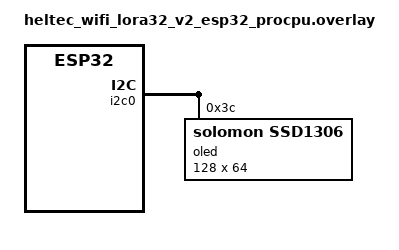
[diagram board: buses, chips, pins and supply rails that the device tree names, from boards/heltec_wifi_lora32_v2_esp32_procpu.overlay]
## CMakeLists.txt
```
cmake_minimum_required(VERSION 3.20.0)

find_package(Zephyr REQUIRED HINTS $ENV{ZEPHYR_BASE})
project(fuota_lorawan)

target_sources(app PRIVATE src/main.c src/screen.c)
target_sources_ifdef(CONFIG_APP_TRANSPORT_P2P app PRIVATE src/p2p.c)
# p2p.c reuses the TS004 decoder and the flash writes of the fragmentation service
target_include_directories(app PRIVATE ${ZEPHYR_BASE}/subsys/lorawan/services)
```

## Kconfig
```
mainmenu "LoRaWAN FUOTA example"

choice APP_TRANSPORT
	prompt "Update transport"
	default APP_TRANSPORT_LORAWAN

config APP_TRANSPORT_LORAWAN
	bool "LoRaWAN: OTAA join and FUOTA services (TS003, TS004, TS005)"

config APP_TRANSPORT_P2P
	bool "Point-to-point LoRa, from another board, without a LoRaWAN network"
	help
	  For a bench without a gateway: a second board broadcasts the image as
	  TS004 fragments (see radio-modem/ and tools/p2p_send.py). The decoder,
	  the flash writes and MCUboot are the same as with LoRaWAN.

endchoice

config APP_LORAWAN_DEV_EUI
	string "DevEUI (16 hex characters)"
	default "0000000000000000"

config APP_LORAWAN_JOIN_EUI
	string "JoinEUI (16 hex characters)"
	default "0000000000000000"

config APP_LORAWAN_APP_KEY
	string "AppKey (32 hex characters)"
	default "00000000000000000000000000000000"
	help
	  Never put a real key in prj.conf: pass it through a file kept out of
	  the repository, with -Dfirmware_EXTRA_CONF_FILE (sysbuild).

config APP_JOIN_ATTEMPTS
	int "Join attempts before giving up"
	range 0 20
	default 3
	help
	  At 0, the device transmits nothing: useful on a bench without an antenna.

config APP_UPLINK_PERIOD
	int "Uplink period, in seconds"
	default 180

config APP_SELFTEST_REQUIRES_JOIN
	bool "Only confirm a new image after a successful join"
	default y
	help
	  Health check of an image booted on trial. If the join fails, the device
	  reboots and MCUboot restores the previous image. Only disable it on a
	  bench without a LoRaWAN gateway: the check then becomes "the radio
	  answers".

source "Kconfig.zephyr"
```

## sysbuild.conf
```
SB_CONFIG_BOOTLOADER_MCUBOOT=y

# Signature required. The key itself is passed at build time:
#   -DSB_CONFIG_BOOT_SIGNATURE_KEY_FILE='"/path/outside-the-repo/key.pem"'
# Without this option, the build uses MCUboot's public example key.
SB_CONFIG_BOOT_SIGNATURE_TYPE_ECDSA_P256=y

# Swap the two slots, so the previous image can be restored
SB_CONFIG_MCUBOOT_MODE_SWAP_SCRATCH=y
```

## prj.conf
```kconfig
CONFIG_LOG=y
CONFIG_MAIN_STACK_SIZE=4096
CONFIG_SYSTEM_WORKQUEUE_STACK_SIZE=2048
CONFIG_REBOOT=y
CONFIG_WATCHDOG=y

# Radio and LoRaWAN stack
CONFIG_LORA=y
CONFIG_LORAWAN=y
CONFIG_LORAWAN_REGION_EU868=y

# The DevNonce must survive reboots
CONFIG_NVS=y
CONFIG_SETTINGS=y
CONFIG_LORAWAN_NVM_SETTINGS=y
CONFIG_ENTROPY_GENERATOR=y

# The three FUOTA building blocks
CONFIG_LORAWAN_SERVICES=y
CONFIG_LORAWAN_APP_CLOCK_SYNC=y
CONFIG_LORAWAN_REMOTE_MULTICAST=y
CONFIG_LORAWAN_FRAG_TRANSPORT=y

# Writing the received image to the secondary slot
CONFIG_FLASH=y
CONFIG_FLASH_MAP=y
CONFIG_STREAM_FLASH=y
CONFIG_IMG_MANAGER=y

# Sizing of the fragment decoder. Its memory depends on the number of fragments
# (image size / fragment size) and on the tolerated redundancy: with the defaults
# (whole partition, 48-byte fragments, 20%), it asks for more than 5 MB of RAM.
# So we fix what the server will send.
CONFIG_LORAWAN_FRAG_TRANSPORT_DECODER_LOWMEM=y
CONFIG_LORAWAN_FRAG_TRANSPORT_IMAGE_SIZE=393216
CONFIG_LORAWAN_FRAG_TRANSPORT_MIN_FRAG_SIZE=48
CONFIG_LORAWAN_FRAG_TRANSPORT_MAX_FRAG_SIZE=48
CONFIG_LORAWAN_FRAG_TRANSPORT_MAX_REDUNDANCY=10

# Screen: logo and steps (no effect on a board without a screen)
CONFIG_DISPLAY=y
CONFIG_CHARACTER_FRAMEBUFFER=y
```

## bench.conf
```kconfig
# Test bench without a LoRaWAN gateway: no radio transmission.
# Add with -Dfirmware_EXTRA_CONF_FILE=bench.conf
CONFIG_APP_JOIN_ATTEMPTS=0
```

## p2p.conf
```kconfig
# Update over point-to-point LoRa (two-board bench, without a LoRaWAN network).
# Add with -Dfirmware_EXTRA_CONF_FILE=p2p.conf
CONFIG_APP_TRANSPORT_P2P=y

# 200-byte fragments: 4 times fewer frames than with 48, for the same RAM
CONFIG_LORAWAN_FRAG_TRANSPORT_MIN_FRAG_SIZE=200
CONFIG_LORAWAN_FRAG_TRANSPORT_MAX_FRAG_SIZE=200
```

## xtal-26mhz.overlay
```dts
/* Some older Heltec and TTGO boards have a 26 MHz crystal instead of 40 MHz
 * (esptool shows it: "Crystal frequency: 26MHz"). Apply to both the firmware and
 * MCUboot.
 */
&cpu0 {
	xtal-freq = <DT_FREQ_M(26)>;
};

&cpu1 {
	xtal-freq = <DT_FREQ_M(26)>;
};
```

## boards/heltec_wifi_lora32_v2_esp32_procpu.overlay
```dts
/* 128 x 64 OLED screen (SSD1306) of the Heltec board, on the internal I2C bus.
 * Power (Vext) and the reset pin are handled by board_init.c.
 */

/ {
	chosen {
		zephyr,display = &oled;
	};
};

&i2c0 {
	oled: ssd1306@3c {
		compatible = "solomon,ssd1306";
		reg = <0x3c>;
		width = <128>;
		height = <64>;
		segment-offset = <0>;
		page-offset = <0>;
		display-offset = <0>;
		multiplex-ratio = <63>;
		segment-remap;
		com-invdir;
		prechargep = <0x22>;
	};
};
```

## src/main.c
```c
/*
 * LoRaWAN FUOTA example for the "CRA & Dev" series, episode 6.
 *
 * The firmware joins the network, listens to the three FUOTA services, and applies
 * the rule from the article: a received image boots on trial, and is only confirmed
 * once it has proven itself. Each step is shown on the screen, if there is one.
 */

#include <app_version.h>
#include <zephyr/device.h>
#include <zephyr/dfu/mcuboot.h>
#include <zephyr/drivers/watchdog.h>
#include <zephyr/kernel.h>
#include <zephyr/logging/log.h>
#include <zephyr/logging/log_ctrl.h>
#include <zephyr/lorawan/lorawan.h>
#include <zephyr/sys/reboot.h>
#include <zephyr/sys/util.h>

#include "p2p.h"
#include "screen.h"

LOG_MODULE_REGISTER(fuota, LOG_LEVEL_INF);

#define WATCHDOG_TIMEOUT_MS 60000

/* Join retries on a confirmed image: 1 minute, then doubling, up to 1 hour */
#define JOIN_RETRY_MIN_S 60
#define JOIN_RETRY_MAX_S 3600

/* Before rebooting a confirmed image after a failure: avoids a reboot loop */
#define FAILURE_WAIT_S 600

/* Ports of the FUOTA services (LoRa Alliance specifications) */
#define PORT_MULTICAST_SETUP 200 /* TS005 */
#define PORT_FRAG_TRANSPORT  201 /* TS004 */
#define PORT_CLOCK_SYNC      202 /* TS003 */

static const struct device *const lora = DEVICE_DT_GET(DT_ALIAS(lora0));
static const struct device *const wdt = DEVICE_DT_GET(DT_ALIAS(watchdog0));
static int wdt_channel = -1;

/* Downlinks seen by the application. LoRaWAN callbacks run on the system
 * workqueue and must stay short: they post an event, the main loop handles it.
 * Losing one only loses a line on the screen.
 */
struct downlink {
	uint8_t port;
	int16_t rssi;
	uint8_t len;
};

K_MSGQ_DEFINE(downlinks, sizeof(struct downlink), 16, 4);

/* The end of a transfer must never be lost: a semaphore, not a queue slot. */
static K_SEM_DEFINE(image_received, 0, 1);

static void watchdog_start(void)
{
	const struct wdt_timeout_cfg cfg = {
		.window.max = WATCHDOG_TIMEOUT_MS,
		.flags = WDT_FLAG_RESET_SOC,
	};

	if (!device_is_ready(wdt)) {
		LOG_WRN("No watchdog");
		return;
	}
	wdt_channel = wdt_install_timeout(wdt, &cfg);
	if (wdt_channel < 0 || wdt_setup(wdt, WDT_OPT_PAUSE_HALTED_BY_DBG) < 0) {
		LOG_WRN("Watchdog not started");
		wdt_channel = -1;
	}
}

static void watchdog_feed(void)
{
	if (wdt_channel >= 0) {
		wdt_feed(wdt, wdt_channel);
	}
}

/* Sleeps while keeping the watchdog fed. */
static void wait(int seconds)
{
	for (int i = 0; i < seconds; i += 10) {
		watchdog_feed();
		k_sleep(K_SECONDS(MIN(10, seconds - i)));
	}
}

/* If the firmware hangs, the watchdog reboots the device, and MCUboot restores the
 * previous image as long as the new one is not confirmed.
 */
static FUNC_NORETURN void reboot(const char *reason)
{
	LOG_WRN("Rebooting: %s", reason);
	screen_step("Rebooting");
	LOG_PANIC(); /* flush the logs before cutting */
	sys_reboot(SYS_REBOOT_COLD);
}

/* A test image reboots at once, so MCUboot rolls it back. A confirmed image has no
 * older image to go back to: it waits before retrying, rather than reboot-looping.
 */
static FUNC_NORETURN void fail(bool confirmed, const char *screen, const char *reason)
{
	LOG_ERR("%s", reason);
	screen_step("%s", screen);
	if (confirmed) {
		wait(FAILURE_WAIT_S);
	}
	reboot(reason);
}

/* Called by the fragmentation service once the image is complete in the secondary
 * slot. Zephyr has already asked MCUboot for a test boot.
 */
static void fuota_finished(void)
{
	k_sem_give(&image_received);
}

/* Every downlink, including those of the FUOTA services, which Zephyr also handles
 * on its own.
 */
static void downlink_received(uint8_t port, uint8_t flags, int16_t rssi, int8_t snr,
			      uint8_t len, const uint8_t *data)
{
	struct downlink dl = {.port = port, .rssi = rssi, .len = len};

	ARG_UNUSED(flags);
	ARG_UNUSED(snr);
	ARG_UNUSED(data);
	k_msgq_put(&downlinks, &dl, K_NO_WAIT);
}

static struct lorawan_downlink_cb downlink_cb = {
	.port = LW_RECV_PORT_ANY,
	.cb = downlink_received,
};

static void show_downlink(const struct downlink *dl)
{
	const char *service;

	switch (dl->port) {
	case 0:
		return; /* MAC acknowledgement, no data */
	case PORT_MULTICAST_SETUP:
		service = "mcast";
		break;
	case PORT_FRAG_TRANSPORT:
		service = "frag";
		break;
	case PORT_CLOCK_SYNC:
		service = "clock";
		break;
	default:
		service = "app";
		break;
	}
	LOG_INF("Downlink port %u (%s), %u bytes, RSSI %d dBm", dl->port, service, dl->len,
		dl->rssi);
	screen_step("DL %u %s", dl->port, service);
}

static int join(void)
{
	static uint8_t dev_eui[8], join_eui[8], app_key[16];
	struct lorawan_join_config cfg = {
		.mode = LORAWAN_ACT_OTAA,
		.dev_eui = dev_eui,
		.otaa = {.join_eui = join_eui, .app_key = app_key, .nwk_key = app_key},
	};
	int ret = -EINVAL;

	if (hex2bin(CONFIG_APP_LORAWAN_DEV_EUI, strlen(CONFIG_APP_LORAWAN_DEV_EUI),
		    dev_eui, sizeof(dev_eui)) != sizeof(dev_eui) ||
	    hex2bin(CONFIG_APP_LORAWAN_JOIN_EUI, strlen(CONFIG_APP_LORAWAN_JOIN_EUI),
		    join_eui, sizeof(join_eui)) != sizeof(join_eui) ||
	    hex2bin(CONFIG_APP_LORAWAN_APP_KEY, strlen(CONFIG_APP_LORAWAN_APP_KEY),
		    app_key, sizeof(app_key)) != sizeof(app_key)) {
		LOG_ERR("Malformed LoRaWAN credentials");
		return ret;
	}

	for (int i = 1; i <= CONFIG_APP_JOIN_ATTEMPTS; i++) {
		LOG_INF("OTAA join, attempt %d/%d", i, CONFIG_APP_JOIN_ATTEMPTS);
		screen_step("Join %d/%d", i, CONFIG_APP_JOIN_ATTEMPTS);
		watchdog_feed();
		ret = lorawan_join(&cfg);
		if (ret == 0) {
			screen_step("Join OK");
			return 0;
		}
		LOG_WRN("Join rejected or no answer (%d)", ret);
		k_sleep(K_SECONDS(5));
	}
	screen_step("Join failed");
	return ret;
}

/* Starts the FUOTA services; returns true if all of them started. */
static bool start_services(void)
{
	int clock, frag;

	lorawan_enable_adr(true);
	clock = lorawan_clock_sync_run();                   /* TS003 */
	frag = lorawan_frag_transport_run(fuota_finished); /* TS004 */
	/* TS005 starts on its own, in the background */
	if (clock < 0 || frag < 0) {
		LOG_ERR("FUOTA services not started (clock sync %d, frag transport %d)", clock,
			frag);
		screen_step("FUOTA error");
		return false;
	}
	screen_step("FUOTA ready");
	return true;
}

static void confirm(void)
{
	if (boot_write_img_confirmed() < 0) {
		reboot("cannot confirm the image");
	}
	LOG_INF("Image confirmed");
	screen_step("Confirmed");
}

/* Update over point-to-point LoRa. The health check is just "the radio answers":
 * there is no network to join.
 */
static FUNC_NORETURN void run_p2p(bool confirmed)
{
	LOG_INF("LoRa radio ready (point to point)");
	screen_step("Radio OK");
	if (!confirmed) {
		confirm();
		confirmed = true;
	}
	if (p2p_fuota_run(watchdog_feed) == 0) {
		reboot("new image received, MCUboot will verify it");
	}
	fail(confirmed, "Radio error", "LoRa radio error");
}

int main(void)
{
	bool confirmed = boot_is_img_confirmed();
	bool joined = false, services = false;
	int join_retry_s = JOIN_RETRY_MIN_S;
	int64_t next_join, next_uplink;

	screen_init(); /* the logo, for a few seconds */
	LOG_INF("Firmware %s, image %s", APP_VERSION_STRING, confirmed ? "confirmed" : "on trial");
	screen_step("v%s %s", APP_VERSION_STRING, confirmed ? "ok" : "trial");
	watchdog_start();

	if (!device_is_ready(lora)) {
		fail(confirmed, "Radio error", "LoRa radio unavailable");
	}

	if (IS_ENABLED(CONFIG_APP_TRANSPORT_P2P)) {
		run_p2p(confirmed);
	}

	if (lorawan_start() < 0) {
		fail(confirmed, "Radio error", "LoRaWAN stack unavailable");
	}
	lorawan_register_downlink_callback(&downlink_cb);
	LOG_INF("LoRa radio ready");
	screen_step("Radio OK");

	if (CONFIG_APP_JOIN_ATTEMPTS == 0) {
		screen_step("Join off");
	} else {
		joined = join() == 0;
	}
	if (joined) {
		services = start_services();
	}

	/* The health check. A test image that fails it reboots without confirming
	 * itself: MCUboot puts the old one back. A product would check more here:
	 * storage migration, critical peripherals, a first exchange with the backend.
	 */
	if (!confirmed) {
		if (IS_ENABLED(CONFIG_APP_SELFTEST_REQUIRES_JOIN) && !(joined && services)) {
			reboot(joined ? "test image unable to start the FUOTA services"
				      : "test image unable to join the network");
		}
		confirm();
	}

	/* Joined but unable to receive updates: retry from a clean boot, later */
	if (joined && !services) {
		fail(true, "FUOTA error", "FUOTA services not started");
	}

	next_join = k_uptime_get() + join_retry_s * MSEC_PER_SEC;
	next_uplink = k_uptime_get();

	for (;;) {
		struct downlink dl;

		watchdog_feed();
		if (k_sem_take(&image_received, K_NO_WAIT) == 0) {
			screen_step("Image rcvd");
			reboot("new image received, MCUboot will verify it");
		}
		if (k_msgq_get(&downlinks, &dl, K_SECONDS(1)) == 0) {
			show_downlink(&dl);
		}

		/* Offline, the device cannot receive the update that would fix it:
		 * keep trying to join, ever more slowly.
		 */
		if (!joined && CONFIG_APP_JOIN_ATTEMPTS > 0 && k_uptime_get() >= next_join) {
			joined = join() == 0;
			if (joined) {
				services = start_services();
				if (!services) {
					fail(true, "FUOTA error", "FUOTA services not started");
				}
			} else {
				join_retry_s = MIN(join_retry_s * 2, JOIN_RETRY_MAX_S);
				next_join = k_uptime_get() + join_retry_s * MSEC_PER_SEC;
			}
		}

		if (!joined || k_uptime_get() < next_uplink) {
			continue;
		}
		/* In class A, uplinks are what opens the receive windows the server
		 * needs to set up the session.
		 */
		next_uplink = k_uptime_get() + CONFIG_APP_UPLINK_PERIOD * MSEC_PER_SEC;
		uint8_t payload[] = {APP_VERSION_MAJOR, APP_VERSION_MINOR, APP_PATCHLEVEL};

		if (lorawan_send(2, payload, sizeof(payload), LORAWAN_MSG_UNCONFIRMED) < 0) {
			LOG_WRN("Uplink not sent");
			screen_step("Uplink fail");
		} else {
			screen_step("Uplink OK");
		}
	}
	return 0;
}
```

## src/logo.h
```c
/* Generated by tools/make_logo.py from assets/adnt-mark-black.png. Do not edit. */

#include <stdint.h>

#define LOGO_WIDTH  128
#define LOGO_HEIGHT 64

/* One line per pixel row, most significant bit on the left, 1 = lit */
static const uint8_t logo_bitmap[LOGO_HEIGHT * LOGO_WIDTH / 8] = {
	0x00, 0x00, 0x00, 0x00, 0x00, 0x00, 0x00, 0x00, 0x00, 0x00, 0x00, 0x00, 0x00, 0x00, 0x00, 0x00,
	0x00, 0x00, 0x01, 0xc0, 0x00, 0x00, 0x00, 0x00, 0x00, 0x00, 0x00, 0x00, 0x00, 0x00, 0x00, 0x00,
	0x00, 0x00, 0x03, 0xc0, 0x00, 0x00, 0x00, 0x00, 0x00, 0x00, 0x00, 0x00, 0x00, 0x00, 0x00, 0x00,
	0x00, 0x00, 0x03, 0x40, 0x00, 0x00, 0x00, 0x00, 0x00, 0x00, 0x00, 0x00, 0x00, 0x00, 0x00, 0x00,
	0x00, 0x00, 0x03, 0xc0, 0x00, 0x00, 0x00, 0x00, 0x00, 0x00, 0x00, 0x00, 0x00, 0x00, 0x00, 0x00,
	0x00, 0x00, 0x00, 0x60, 0x00, 0x00, 0x00, 0x00, 0x00, 0x00, 0x00, 0x00, 0x00, 0x00, 0x00, 0x00,
	0x00, 0x00, 0x00, 0x60, 0x00, 0x00, 0x00, 0x00, 0x00, 0x00, 0x00, 0x00, 0x00, 0x00, 0x00, 0x00,
	0x00, 0x00, 0x03, 0x30, 0x00, 0x00, 0x00, 0x00, 0x00, 0x00, 0x00, 0x00, 0x00, 0x00, 0x00, 0x00,
	0x00, 0x00, 0x07, 0x98, 0x00, 0x00, 0x00, 0x00, 0x00, 0x00, 0x00, 0x00, 0x00, 0x00, 0x00, 0x00,
	0x00, 0x00, 0x04, 0x9e, 0x00, 0x00, 0x00, 0x00, 0x00, 0x00, 0x00, 0x00, 0x00, 0x00, 0x00, 0x00,
	0x00, 0x00, 0x07, 0x8e, 0x00, 0x00, 0x00, 0x00, 0x00, 0x00, 0x00, 0x00, 0x00, 0x00, 0x00, 0x00,
	0x00, 0x00, 0x03, 0x87, 0x00, 0x00, 0x00, 0x00, 0x00, 0x00, 0x00, 0x00, 0x00, 0x00, 0x00, 0x00,
	0x00, 0x00, 0x00, 0x87, 0x80, 0x00, 0x00, 0x00, 0x00, 0x00, 0x00, 0x00, 0x00, 0x00, 0x00, 0x00,
	0x00, 0x00, 0x00, 0xc3, 0x80, 0x00, 0x00, 0x00, 0x00, 0x00, 0x00, 0x00, 0x00, 0x00, 0x00, 0x00,
	0x00, 0x00, 0x00, 0x61, 0xc0, 0x00, 0x00, 0x00, 0x0f, 0x80, 0x3f, 0xc0, 0x3c, 0x78, 0x7f, 0xfc,
	0x00, 0x00, 0x00, 0x61, 0xc0, 0x00, 0x00, 0x00, 0x0f, 0xc0, 0x3f, 0xe0, 0x3c, 0x78, 0x7f, 0xfc,
	0x00, 0x00, 0x00, 0x70, 0xe0, 0x00, 0x00, 0x00, 0x0f, 0xc0, 0x3f, 0xf0, 0x3e, 0x78, 0x7f, 0xfc,
	0x00, 0x00, 0x00, 0x78, 0x60, 0x00, 0x00, 0x00, 0x1f, 0xc0, 0x3c, 0xf8, 0x3e, 0x78, 0x03, 0xc0,
	0x00, 0x00, 0x00, 0xb8, 0x70, 0x00, 0x00, 0x00, 0x1d, 0xe0, 0x3c, 0x78, 0x3f, 0x78, 0x03, 0xc0,
	0x00, 0x00, 0x01, 0xdc, 0x38, 0x00, 0x00, 0x00, 0x1d, 0xe0, 0x3c, 0x78, 0x3f, 0x78, 0x03, 0xc0,
	0x00, 0x00, 0x01, 0xfc, 0x38, 0x00, 0x00, 0x00, 0x1c, 0xe0, 0x3c, 0x78, 0x3b, 0x78, 0x03, 0xc0,
	0x00, 0x00, 0x03, 0xee, 0x1c, 0x00, 0x00, 0x00, 0x3c, 0xf0, 0x3c, 0x78, 0x3b, 0xb8, 0x03, 0xc0,
	0x00, 0x00, 0x03, 0xff, 0x0c, 0x00, 0x00, 0x00, 0x3c, 0xf0, 0x3c, 0x78, 0x39, 0xf8, 0x03, 0xc0,
	0x00, 0x00, 0x07, 0xf7, 0x0e, 0x00, 0x00, 0x00, 0x3f, 0xf0, 0x3c, 0x78, 0x39, 0xf8, 0x03, 0xc0,
	0x00, 0x00, 0x07, 0xff, 0x86, 0x00, 0x00, 0x00, 0x7f, 0xf0, 0x3c, 0x78, 0x3d, 0xf8, 0x03, 0xc0,
	0x00, 0x00, 0x0f, 0xff, 0xc7, 0x00, 0x00, 0x00, 0x7f, 0xf8, 0x3c, 0xf8, 0x3c, 0xf8, 0x03, 0xc0,
	0x00, 0x00, 0x1f, 0xf9, 0xc7, 0x80, 0x00, 0x00, 0x70, 0x78, 0x3f, 0xf0, 0x3c, 0xf8, 0x03, 0xc0,
	0x00, 0x00, 0x1f, 0xf9, 0xff, 0x80, 0x00, 0x00, 0xf0, 0x78, 0x3f, 0xe0, 0x3c, 0xf8, 0x03, 0xc0,
	0x00, 0x00, 0x3f, 0xf0, 0xff, 0xc0, 0x00, 0x00, 0xf0, 0x3c, 0x3f, 0xc0, 0x3c, 0x78, 0x03, 0xc0,
	0x00, 0x00, 0x3f, 0xf0, 0xff, 0xc0, 0x00, 0x00, 0x00, 0x00, 0x00, 0x00, 0x00, 0x00, 0x00, 0x00,
	0x00, 0x00, 0x7f, 0xe0, 0x7f, 0xe0, 0x00, 0x00, 0x00, 0x00, 0x00, 0x00, 0x00, 0x00, 0x00, 0x00,
	0x00, 0x00, 0x7f, 0xc0, 0x7f, 0xe0, 0x00, 0x00, 0x00, 0x00, 0x00, 0x00, 0x00, 0x00, 0x00, 0x00,
	0x00, 0x00, 0xff, 0xc0, 0xff, 0xf0, 0x00, 0x00, 0x00, 0x00, 0x00, 0x00, 0x00, 0x00, 0x00, 0x00,
	0x00, 0x01, 0xff, 0x80, 0xff, 0xf8, 0x00, 0x00, 0x00, 0x00, 0x00, 0x00, 0x00, 0x00, 0x00, 0x00,
	0x00, 0x01, 0xff, 0x81, 0xff, 0xf8, 0x00, 0x00, 0x00, 0x00, 0x00, 0x00, 0x00, 0x00, 0x00, 0x00,
	0x00, 0x03, 0xff, 0x01, 0xff, 0xfc, 0x00, 0x00, 0x00, 0x00, 0x00, 0x00, 0x00, 0x00, 0x00, 0x00,
	0x00, 0x03, 0xff, 0x03, 0xff, 0xfc, 0x00, 0x00, 0x00, 0x00, 0x00, 0x04, 0x00, 0x00, 0x00, 0x00,
	0x00, 0x07, 0xfe, 0x03, 0xff, 0xfe, 0x00, 0x00, 0x00, 0x00, 0x1f, 0x06, 0x00, 0x30, 0x00, 0x00,
	0x00, 0x0f, 0xfc, 0x07, 0xff, 0xff, 0x00, 0x00, 0x00, 0x00, 0x31, 0x02, 0x00, 0x30, 0x00, 0x00,
	0x00, 0x0f, 0xfc, 0x0f, 0xff, 0xff, 0x00, 0x00, 0x00, 0x00, 0x30, 0x00, 0x00, 0x30, 0x00, 0x00,
	0x00, 0x1f, 0xf8, 0x0f, 0xfd, 0xff, 0x80, 0x00, 0x00, 0x00, 0x30, 0x0f, 0x8d, 0xb0, 0x00, 0x00,
	0x00, 0x1f, 0xf8, 0x1f, 0xf9, 0xff, 0x80, 0x00, 0x00, 0x00, 0x30, 0x09, 0x8e, 0x30, 0x00, 0x00,
	0x00, 0x3f, 0xf0, 0x1f, 0xf8, 0xff, 0xc0, 0x00, 0x00, 0x00, 0x1e, 0x00, 0xcc, 0x30, 0x00, 0x00,
	0x00, 0x3f, 0xf0, 0x3f, 0xf0, 0xff, 0xc0, 0x00, 0x00, 0x00, 0x07, 0x00, 0xcc, 0x30, 0x00, 0x00,
	0x00, 0x7f, 0xe0, 0x3f, 0xf0, 0x7f, 0xe0, 0x00, 0x00, 0x00, 0x01, 0x8f, 0xcc, 0x30, 0x00, 0x00,
	0x00, 0xff, 0xc0, 0x7f, 0xe0, 0x3f, 0xf0, 0x00, 0x00, 0x00, 0x01, 0x98, 0xcc, 0x30, 0x00, 0x00,
	0x00, 0xff, 0xc0, 0xff, 0xc0, 0x3f, 0xf0, 0x00, 0x00, 0x00, 0x01, 0x90, 0xcc, 0x30, 0x00, 0x00,
	0x01, 0xff, 0x80, 0xff, 0xc0, 0x1f, 0xf0, 0x00, 0x00, 0x00, 0x23, 0x99, 0xcc, 0x30, 0x00, 0x00,
	0x01, 0xff, 0xfd, 0xff, 0x9f, 0xff, 0xf8, 0x00, 0x00, 0x00, 0x3e, 0x0e, 0xcc, 0x30, 0x00, 0x00,
	0x03, 0xff, 0xf9, 0xff, 0xbf, 0xff, 0xfc, 0x00, 0x00, 0x00, 0x00, 0x00, 0x00, 0x00, 0x00, 0x00,
	0x03, 0xff, 0xfb, 0xff, 0x7f, 0xff, 0xfc, 0x00, 0x00, 0x00, 0x00, 0x00, 0x00, 0x00, 0x00, 0x00,
	0x07, 0xff, 0xf3, 0xfe, 0x7f, 0xff, 0xfe, 0x00, 0x00, 0x00, 0x00, 0x00, 0x00, 0x00, 0x00, 0x00,
	0x0f, 0xff, 0xf7, 0xfe, 0xff, 0xff, 0xff, 0x00, 0x00, 0x00, 0x00, 0x00, 0x00, 0x00, 0x00, 0x00,
	0x0f, 0xff, 0xef, 0xfc, 0xff, 0xff, 0xff, 0x00, 0x00, 0x00, 0x00, 0x00, 0x00, 0x00, 0x00, 0x00,
	0x1f, 0xff, 0xcf, 0xfd, 0xff, 0xff, 0xff, 0x80, 0x00, 0x00, 0x00, 0x00, 0x00, 0x00, 0x00, 0x00,
	0x1f, 0xff, 0xdf, 0xfb, 0xff, 0xff, 0xff, 0x80, 0x00, 0x00, 0x00, 0x00, 0x00, 0x00, 0x00, 0x00,
	0x3f, 0xff, 0x9f, 0xfb, 0xff, 0xff, 0xff, 0xc0, 0x00, 0x00, 0x00, 0x00, 0x00, 0x00, 0x00, 0x00,
	0x00, 0x00, 0x3f, 0xf0, 0x00, 0x00, 0x00, 0x00, 0x00, 0x00, 0x00, 0x00, 0x00, 0x00, 0x00, 0x00,
	0x00, 0x00, 0x3f, 0xe0, 0x00, 0x00, 0x00, 0x00, 0x00, 0x00, 0x00, 0x00, 0x00, 0x00, 0x00, 0x00,
	0x00, 0x00, 0x7f, 0xe0, 0x00, 0x00, 0x00, 0x00, 0x00, 0x00, 0x00, 0x00, 0x00, 0x00, 0x00, 0x00,
	0x00, 0x00, 0xff, 0xc0, 0x00, 0x00, 0x00, 0x00, 0x00, 0x00, 0x00, 0x00, 0x00, 0x00, 0x00, 0x00,
	0x00, 0x00, 0xff, 0xc0, 0x00, 0x00, 0x00, 0x00, 0x00, 0x00, 0x00, 0x00, 0x00, 0x00, 0x00, 0x00,
	0x00, 0x01, 0xff, 0x80, 0x00, 0x00, 0x00, 0x00, 0x00, 0x00, 0x00, 0x00, 0x00, 0x00, 0x00, 0x00,
	0x00, 0x00, 0x00, 0x00, 0x00, 0x00, 0x00, 0x00, 0x00, 0x00, 0x00, 0x00, 0x00, 0x00, 0x00, 0x00,
};
```

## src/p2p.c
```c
/*
 * Update over point-to-point LoRa: see p2p.h.
 */

#include <string.h>

#include <zephyr/device.h>
#include <zephyr/drivers/lora.h>
#include <zephyr/kernel.h>
#include <zephyr/logging/log.h>
#include <zephyr/sys/byteorder.h>
#include <zephyr/sys/reboot.h>

/* Internal APIs of Zephyr's fragmentation service (subsys/lorawan/services) */
#include "frag_decoder_lowmem.h"
#include "frag_flash.h"

#include "p2p.h"
#include "screen.h"

LOG_MODULE_REGISTER(p2p, LOG_LEVEL_INF);

enum { P2P_SETUP = 1, P2P_READY = 2, P2P_FRAG = 3, P2P_DONE = 4 };

#define HEADER_LEN    4 /* "AD", type, session */
#define PROGRESS_STEP 100
#define MAX_RX_ERRORS 5 /* consecutive radio errors before giving up */

static const struct device *const lora = DEVICE_DT_GET(DT_ALIAS(lora0));

static struct {
	bool active;
	uint8_t session;
	uint16_t nb_frag;
	uint8_t frag_size;
	uint8_t padding;
	uint16_t received;
	struct frag_decoder decoder;
} ctx;

/* The device receives on the downlink and answers on the uplink. */
static int radio_mode(bool tx)
{
	struct lora_modem_config cfg = {
		.frequency = P2P_FREQUENCY,
		.bandwidth = tx ? P2P_UP_BW : P2P_DOWN_BW,
		.datarate = tx ? P2P_UP_SF : P2P_DOWN_SF,
		.coding_rate = CR_4_5,
		.preamble_len = 8,
		.tx_power = P2P_TX_POWER,
		.tx = tx,
	};

	return lora_config(lora, &cfg);
}

static void send(uint8_t type, const uint8_t *payload, size_t len)
{
	uint8_t buf[HEADER_LEN + 8] = {'A', 'D', type, ctx.session};

	memcpy(&buf[HEADER_LEN], payload, len);
	if (radio_mode(true) < 0 || lora_send(lora, buf, HEADER_LEN + len) < 0) {
		LOG_ERR("Transmit failed (type %u)", type);
	}
	radio_mode(false);
}

static void on_setup(uint8_t session, const uint8_t *p, size_t len)
{
	uint8_t status = 0;
	uint16_t nb_frag;
	uint8_t frag_size, padding;

	if (len < 4) {
		return;
	}
	nb_frag = sys_get_le16(p);
	frag_size = p[2];
	padding = p[3];

	/* Same session, same parameters: the sender missed our READY, or resumes an
	 * interrupted transfer. Anything else starts over.
	 */
	if (ctx.active && session == ctx.session && nb_frag == ctx.nb_frag &&
	    frag_size == ctx.frag_size && padding == ctx.padding) {
		send(P2P_READY, &status, 1);
		return;
	}

	ctx.active = false;
	ctx.session = session;
	ctx.nb_frag = nb_frag;
	ctx.frag_size = frag_size;
	ctx.padding = padding;
	ctx.received = 0;
	LOG_INF("Session %u: %u fragments of %u bytes", session, nb_frag, frag_size);

	/* The protocol is not authenticated: bound every value before use. */
	if (nb_frag == 0 || nb_frag > FRAG_MAX_NB || frag_size == 0 ||
	    frag_size > FRAG_MAX_SIZE || padding >= frag_size ||
	    (uint32_t)nb_frag * frag_size > CONFIG_LORAWAN_FRAG_TRANSPORT_IMAGE_SIZE) {
		LOG_ERR("Session rejected: invalid or beyond the decoder's capacity");
		screen_step("Bad session");
		status = 1;
		send(P2P_READY, &status, 1);
		return;
	}

	screen_step("Session %u", session);
	screen_step("%u frag.", ctx.nb_frag);
	if (frag_flash_init(ctx.frag_size) < 0) { /* erases the secondary slot */
		LOG_ERR("Cannot erase the secondary slot");
		status = 2;
		send(P2P_READY, &status, 1);
		return;
	}
	frag_dec_init(&ctx.decoder, ctx.nb_frag, ctx.frag_size);
	ctx.active = true;
	send(P2P_READY, &status, 1);
}

/* Returns true once the image is complete in the secondary slot. */
static bool on_fragment(uint8_t session, const uint8_t *p, size_t len)
{
	uint16_t index;
	int ret;

	/* Length checked before any read: this is the check that was missing in
	 * Zephyr's TS004 decoder before 4.4.2 (CVE-2026-13480).
	 */
	if (!ctx.active || session != ctx.session || len != 2U + ctx.frag_size) {
		return false;
	}
	index = sys_get_le16(p);
	if (index == 0) {
		return false;
	}
	if (index > ctx.nb_frag) {
		frag_flash_use_cache(); /* redundancy fragments: kept in RAM */
	}

	ret = frag_dec(&ctx.decoder, index, &p[2], ctx.frag_size);
	ctx.received++;
	if (ctx.received % PROGRESS_STEP == 0) {
		LOG_INF("Fragment %u, %u received", index, ctx.received);
		screen_step("Frag %u/%u", MIN(index, ctx.nb_frag), ctx.nb_frag);
	}

	if (ret == FRAG_DEC_ERR_TOO_MANY_FRAMES_LOST || ret == FRAG_DEC_ERR) {
		LOG_ERR("Too many fragments lost, session aborted (%d)", ret);
		screen_step("Too lossy");
		ctx.active = false;
		return false;
	}
	if (ret < 0) {
		return false;
	}

	/* Writes the cache and asks MCUboot for a test boot */
	frag_flash_finish();
	LOG_INF("Image complete: %u fragments received, %u lost, %u rebuilt", ctx.received,
		ctx.decoder.lost_frame_count, ctx.decoder.filled_lost_frame_count);
	screen_step("Image rcvd");
	return true;
}

int p2p_fuota_run(void (*feed)(void))
{
	static uint8_t buf[255];
	int errors = 0;

	if (radio_mode(false) < 0) {
		return -EIO;
	}
	LOG_INF("Listening: %u Hz, %d dBm", P2P_FREQUENCY, P2P_TX_POWER);
	screen_step("Listening");

	for (;;) {
		int16_t rssi;
		int8_t snr;
		int len;

		feed();
		len = lora_recv(lora, buf, sizeof(buf), K_SECONDS(10), &rssi, &snr);
		if (len == -EAGAIN) {
			continue; /* nothing heard in 10 seconds */
		}
		if (len < 0) {
			LOG_WRN("Receive error %d", len);
			if (++errors >= MAX_RX_ERRORS) {
				return -EIO;
			}
			continue;
		}
		errors = 0;
		if (len < HEADER_LEN || buf[0] != 'A' || buf[1] != 'D') {
			continue;
		}

		switch (buf[2]) {
		case P2P_SETUP:
			on_setup(buf[3], &buf[HEADER_LEN], len - HEADER_LEN);
			break;
		case P2P_FRAG:
			if (on_fragment(buf[3], &buf[HEADER_LEN], len - HEADER_LEN)) {
				uint8_t stats[4];

				sys_put_le16(ctx.decoder.lost_frame_count, &stats[0]);
				sys_put_le16(ctx.decoder.filled_lost_frame_count, &stats[2]);
				/* The sender listens between fragments: a few
				 * repetitions are enough.
				 */
				for (int i = 0; i < 3; i++) {
					send(P2P_DONE, stats, sizeof(stats));
					k_sleep(K_MSEC(700));
				}
				return 0;
			}
			break;
		default:
			break;
		}
	}
}
```

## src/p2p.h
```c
/*
 * Update over point-to-point LoRa, without a LoRaWAN network.
 *
 * The transport reuses Zephyr's TS004 decoder and its writes to the secondary slot,
 * exactly like a LoRaWAN FUOTA session. What is missing compared with LoRaWAN: the
 * network server, encryption, multicast and clock synchronisation. None of these
 * authenticates the firmware anyway: the signature, checked by MCUboot, decides.
 *
 * Frames (bytes, little-endian), all prefixed with "AD", type, session:
 *   SETUP (1) sender -> device: nb_frag u16, frag_size u8, padding u8
 *   READY (2) device -> sender: status u8 (0 = ready)
 *   FRAG  (3) sender -> device: index u16 (from 1), data
 *   DONE  (4) device -> sender: lost u16, rebuilt u16
 */

#ifndef P2P_H_
#define P2P_H_

#include <stdint.h>

/* Radio parameters shared by both boards. EU868, g3 sub-band
 * (869.4 - 869.65 MHz): 10% duty cycle, 27 dBm at most.
 */
#define P2P_FREQUENCY 869525000
#define P2P_TX_POWER  14 /* dBm */

/* Downlink (sender -> device), which carries the fragments: fast.
 * Uplink (device -> sender), a few bytes: robust, about 9 dB more sensitivity.
 * On our bench, the uplink arrived 40 dB weaker than the downlink, at the edge
 * of reception in SF7.
 */
#define P2P_DOWN_SF SF_7
#define P2P_DOWN_BW BW_250_KHZ
#define P2P_UP_SF   SF_10
#define P2P_UP_BW   BW_125_KHZ

/* Listens for update sessions. Returns 0 once a complete image is in the secondary
 * slot, a negative value on radio error. feed is called regularly to feed the
 * watchdog.
 */
int p2p_fuota_run(void (*feed)(void));

#endif
```

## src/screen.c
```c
/*
 * Device screen, through Zephyr's character framebuffer (CFB).
 */

#include <stdarg.h>
#include <stdio.h>
#include <string.h>

#include <zephyr/device.h>
#include <zephyr/display/cfb.h>
#include <zephyr/drivers/display.h>
#include <zephyr/kernel.h>
#include <zephyr/logging/log.h>

#include "screen.h"

LOG_MODULE_REGISTER(screen, LOG_LEVEL_INF);

#if DT_HAS_CHOSEN(zephyr_display) && defined(CONFIG_CHARACTER_FRAMEBUFFER)

#include "logo.h"

#define LOGO_DURATION K_SECONDS(3)
#define LINE_LEN      13 /* 12 characters of 10 pixels, plus the trailing zero */
#define MAX_LINES     4  /* 4 lines of 16 pixels */

static const struct device *const display = DEVICE_DT_GET(DT_CHOSEN(zephyr_display));
static bool ready;
static K_MUTEX_DEFINE(lock);
static char lines[MAX_LINES][LINE_LEN];
static int nb_lines;

static void draw_logo(void)
{
	for (int y = 0; y < LOGO_HEIGHT; y++) {
		for (int x = 0; x < LOGO_WIDTH; x++) {
			if (logo_bitmap[y * LOGO_WIDTH / 8 + x / 8] & (0x80 >> (x % 8))) {
				struct cfb_position pos = {.x = x, .y = y};

				cfb_draw_point(display, &pos);
			}
		}
	}
}

void screen_init(void)
{
	if (!device_is_ready(display) || cfb_framebuffer_init(display) < 0) {
		LOG_WRN("Screen unavailable");
		return;
	}
	cfb_framebuffer_set_font(display, 0); /* 10 x 16 pixels */
	cfb_framebuffer_clear(display, true);
	display_blanking_off(display);

	draw_logo();
	cfb_framebuffer_finalize(display);
	k_sleep(LOGO_DURATION);
	ready = true;
}

void screen_step(const char *fmt, ...)
{
	va_list args;

	if (!ready) {
		return;
	}
	k_mutex_lock(&lock, K_FOREVER);

	/* Steps scroll: the most recent at the bottom */
	if (nb_lines == MAX_LINES) {
		memmove(lines[0], lines[1], sizeof(lines[0]) * (MAX_LINES - 1));
		nb_lines--;
	}
	va_start(args, fmt);
	vsnprintf(lines[nb_lines++], LINE_LEN, fmt, args);
	va_end(args);

	cfb_framebuffer_clear(display, false);
	for (int i = 0; i < nb_lines; i++) {
		cfb_print(display, lines[i], 0, i * 16);
	}
	cfb_framebuffer_finalize(display);

	k_mutex_unlock(&lock);
}

#else

void screen_init(void)
{
}

void screen_step(const char *fmt, ...)
{
	ARG_UNUSED(fmt);
}

#endif
```

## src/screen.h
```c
/*
 * Device screen: the logo at boot, then the steps, one per line.
 * Without a screen declared in the devicetree, these functions do nothing.
 */

#ifndef SCREEN_H_
#define SCREEN_H_

/* Turns the screen on and shows the logo. */
void screen_init(void);

/* Adds a step at the bottom of the screen (ASCII, 12 characters at most). */
void screen_step(const char *fmt, ...);

#endif
```
